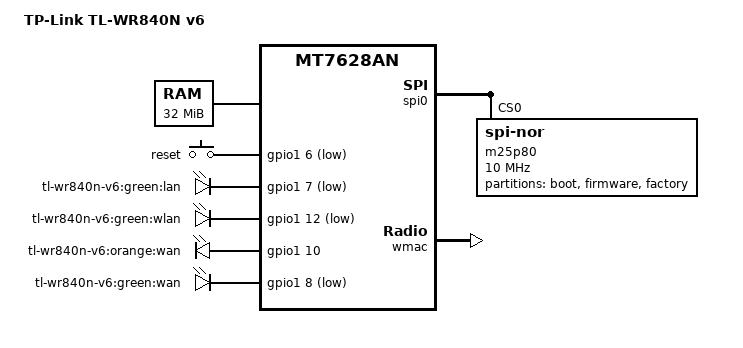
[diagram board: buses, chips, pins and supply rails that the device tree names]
/dts-v1/;

#include "mt7628an.dtsi"

#include <dt-bindings/gpio/gpio.h>
#include <dt-bindings/input/input.h>

/ {
	compatible = "tplink,tl-wr840n-v6", "mediatek,mt7628an-soc";
	model = "TP-Link TL-WR840N v6";

	aliases {
		led-boot = &led_power;
		led-failsafe = &led_power;
		led-running = &led_power;
		led-upgrade = &led_power;
	};
	
	memory@0 {
		device_type = "memory";
		reg = <0x0 0x2000000>;
	};

	chosen {
		bootargs = "console=ttyS0,115200";
	};

	keys {
		compatible = "gpio-keys-polled";
		poll-interval = <20>;

		reset {
			label = "reset";
			gpios = <&gpio1 6 GPIO_ACTIVE_LOW>;
			linux,code = <KEY_RESTART>;
		};
	};
	/* LED used is dual-color,dual lead LED */
	leds {
		compatible = "gpio-leds";

		lan {
			label = "tl-wr840n-v6:green:lan";
			gpios = <&gpio1 7 GPIO_ACTIVE_LOW>;
		};

		wlan {
			label = "tl-wr840n-v6:green:wlan";
			gpios = <&gpio1 12 GPIO_ACTIVE_LOW>;
		};

		led_power: orange {
			label = "tl-wr840n-v6:orange:wan";
			gpios = <&gpio1 10 GPIO_ACTIVE_HIGH>;
		};

		green {
			label = "tl-wr840n-v6:green:wan";
			gpios = <&gpio1 8 GPIO_ACTIVE_LOW>;
		};
	};
};

&spi0 {
	status = "okay";

	m25p80@0 {
		compatible = "jedec,spi-nor";
		reg = <0>;
		spi-max-frequency = <10000000>;

		partitions {
			compatible = "fixed-partitions";
			#address-cells = <1>;
			#size-cells = <1>;

			partition@0 {
				label = "boot";
				reg = <0x0 0x10000>;
				read-only;
			};

			partition@10000 {
				compatible = "tplink,firmware";
				label = "firmware";
				reg = <0x10000 0x3d0000>;
			};

			factory: partition@3f0000 {
				label = "factory";
				reg = <0x3f0000 0x10000>;
				read-only;
			};
		};
	};
};

&wmac {
	status = "okay";
	mtd-mac-address = <&factory 0xf100>;
	mediatek,mtd-eeprom = <&factory 0x10000>;
};

&ethernet {
	mtd-mac-address = <&factory 0xf100>;
	mediatek,portmap = "wllll";
};

&pinctrl {
	state_default: pinctrl0 {
		gpio {
			ralink,group = "p1led_an", "p3led_an", "p4led_an", "wled_an", "perst";
			ralink,function = "gpio";
		};
	};
};
